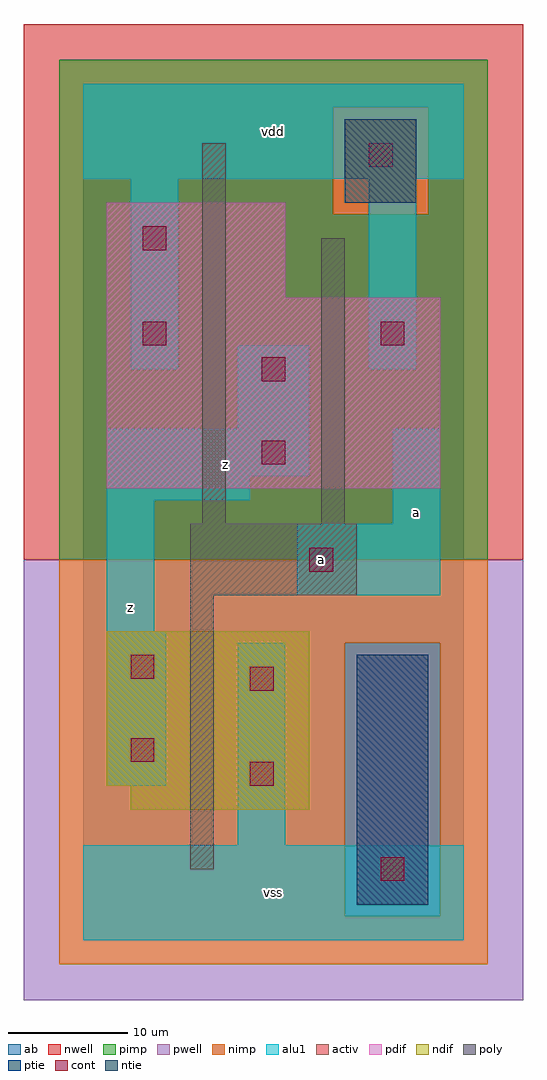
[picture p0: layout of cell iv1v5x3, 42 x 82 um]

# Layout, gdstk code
import gdstk
lib = gdstk.Library(unit=1e-6, precision=1e-09)
def R(c, l, rs):  # rectangles x0, y0, x1, y1
    for r in rs: c.add(gdstk.rectangle(r[:2], r[2:], *l))
ndif = (3, 0)
pdif = (4, 0)
ntie = (5, 0)
ptie = (6, 0)
cont = (25, 0)
pwell = (41, 0)
nwell = (42, 0)
activ = (43, 0)
pimp = (44, 0)
nimp = (45, 0)
poly = (46, 0)
alu1 = (49, 0)
ab = (63, 0)

iv1v5x3 = lib.new_cell('iv1v5x3')
R(iv1v5x3, ndif, [(4,11,19,13), (2,13,19,26)])
R(iv1v5x3, pdif, [(2,38,30,54), (2,54,17,62)])
R(iv1v5x3, ntie, [(22,62,28,69)])
R(iv1v5x3, ptie, [(23,3,29,24)])
R(iv1v5x3, cont, [(25,5,27,7), (14,13,16,15), (4,15,6,17), (14,21,16,23), (4,22,6,24), (19,31,21,33), (15,40,17,42), (15,47,17,49), (5,50,7,52), (25,50,27,52), (5,58,7,60), (24,65,26,67)])
R(iv1v5x3, pwell, [(-5,-5,37,32)])
R(iv1v5x3, nwell, [(-5,32,37,77)])
R(iv1v5x3, activ, [(23,3,29,24), (4,11,19,13), (2,13,19,26), (2,38,30,54), (2,54,17,62), (22,62,28,69)])
R(iv1v5x3, pimp, [(22,2,30,25), (-2,32,34,61), (-2,61,21,70), (29,61,34,70), (-2,70,34,74)])
R(iv1v5x3, nimp, [(-2,-2,34,2), (-2,2,22,25), (30,2,34,25), (-2,25,34,32), (21,61,29,70)])
R(iv1v5x3, poly, [(9,6,11,29), (9,29,23,35), (10,35,12,67), (20,35,22,59)])
R(iv1v5x3, alu1, [(0,0,32,8), (13,8,17,25), (2,13,7,26), (2,26,6,37), (18,29,30,35), (26,35,30,43), (2,37,14,39), (2,39,19,43), (13,43,19,50), (4,48,8,64), (24,48,28,64), (0,64,32,72)])
R(iv1v5x3, ab, [(0,0,32,72)])
iv1v5x3.add(gdstk.Label('z', (4,28), layer=49, texttype=0))
iv1v5x3.add(gdstk.Label('vss', (16,4), layer=49, texttype=0))
iv1v5x3.add(gdstk.Label('z', (12,40), layer=49, texttype=0))
iv1v5x3.add(gdstk.Label('vdd', (16,68), layer=49, texttype=0))
iv1v5x3.add(gdstk.Label('a', (20,32), layer=49, texttype=0))
iv1v5x3.add(gdstk.Label('a', (28,36), layer=49, texttype=0))

lib.write_gds('iv1v5x3.gds')
